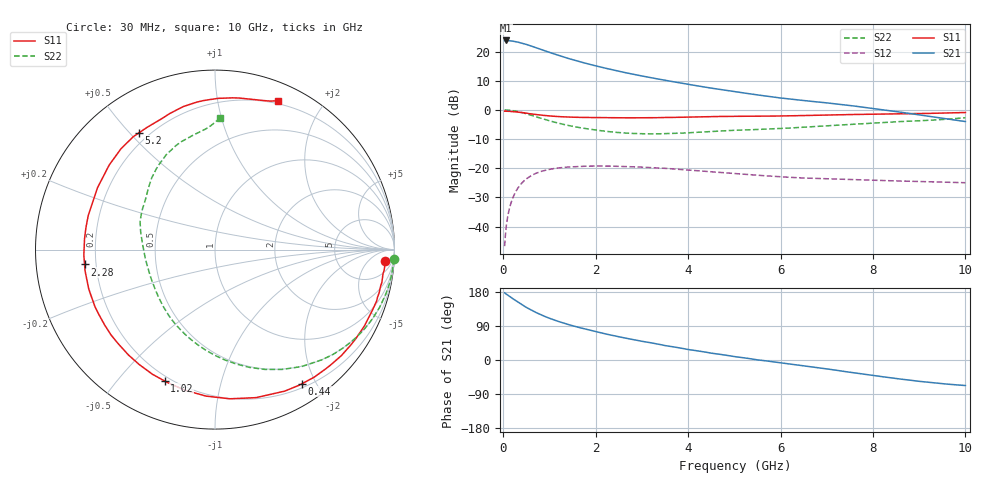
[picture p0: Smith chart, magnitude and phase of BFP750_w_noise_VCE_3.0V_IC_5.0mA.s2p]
! Infineon Technologies  Discrete & RF Semiconductors
! BFP750
! VCE =  3.0 V,  IC =  5.0 mA
! Common Emitter S-Parameters:  Jan 2016
# GHz  S  MA  R  50
!  f  S11  S21  S12  S22
! GHz  MAG  ANG  MAG  ANG  MAG  ANG  MAG  ANG
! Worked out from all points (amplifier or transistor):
!   229 points, 30 MHz to 10 GHz, reference 50 ohm
!   highest |S21| = 23.8 dB at 50 MHz (marker M1)
!   |S21| within 3 dB of that: start of sweep to 804.9 MHz
!   unconditionally stable (mu >= 1): 5.586 GHz to end of sweep
!   at 280 MHz: K = 0.05, MSG = 25.6 dB, |S12| = -27.8 dB
!   at 1.78 GHz: K = 0.24, MSG = 17.7 dB, |S12| = -19.3 dB
!   at 10 GHz: K = 1.29, MAG = 7.3 dB, |S12| = -25.0 dB
!   lowest NFmin = 0.59 dB at 450 MHz
!   S11 on the Smith chart (normalised r, x): 30 MHz: 14, -18; 440 MHz: 0.25, -1.82; 1.02 GHz: 0.18, -0.67; 2.28 GHz: 0.16, -0.06; 5.2 GHz: 0.16, +0.53; 10 GHz: 0.17, +1.50
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0.03  0.948 -4.0  15.35 177.2  0.0046 86.2  0.9972 -3.0
0.05  0.9492 -7.0  15.47 175.0  0.0075 83.9  0.9967 -4.9
0.15  0.9412 -20.3  15.28 166.8  0.0228 77.7  0.9833 -14.6
0.2  0.935 -27.0  15.09 162.4  0.0299 73.9  0.9717 -19.4
0.3  0.9191 -40.0  14.61 154.1  0.0434 66.3  0.9402 -28.7
0.44  0.8908 -56.9  13.67 143.2  0.0596 56.3  0.8829 -40.8
0.6  0.8559 -74.5  12.46 132.0  0.0742 46.4  0.8106 -53.5
0.7  0.8353 -84.4  11.71 125.8  0.0812 40.9  0.7655 -60.7
0.9  0.8014 -101.8  10.3 115.0  0.0917 31.5  0.6843 -73.6
1.02  0.7839 -111.0  9.549 109.3  0.0961 26.6  0.6421 -80.5
1.2  0.767 -123.4  8.567 101.5  0.1011 20.2  0.589 -90.1
1.34  0.7562 -131.7  7.908 96.2  0.1036 15.8  0.5546 -96.8
1.7  0.7419 -150.2  6.55 83.9  0.1076 6.3  0.489 -112.5
2.28  0.7314 -173.5  5.031 67.1  0.1083 -5.9  0.4237 -134.1
2.8  0.7295 170.3  4.094 54.1  0.1056 -14.8  0.3943 -151.5
3.4  0.7352 154.7  3.322 40.7  0.1002 -23.2  0.3888 -169.0
4  0.7546 141.4  2.742 27.7  0.0933 -30.4  0.4042 176.0
5.1  0.7762 124.5  2.004 7.5  0.0799 -38.3  0.4484 157.9
5.2  0.7762 123.1  1.951 5.9  0.0789 -38.8  0.4511 156.4
6.8  0.8086 104.7  1.365 -20.0  0.0665 -42.3  0.5212 133.7
8.4  0.8511 83.4  0.958 -47.3  0.0608 -44.4  0.619 110.6
10  0.9002 67.0  0.63 -67.4  0.0563 -45.2  0.7328 87.8
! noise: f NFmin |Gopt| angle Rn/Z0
0.45  0.59  0.43  1  0.13
0.9  0.61  0.36  29  0.13
1.5  0.68  0.26  71  0.11
1.9  0.74  0.25  97  0.07
2.4  0.84  0.25  127  0.1
3.5  1.23  0.3  174  0.08
